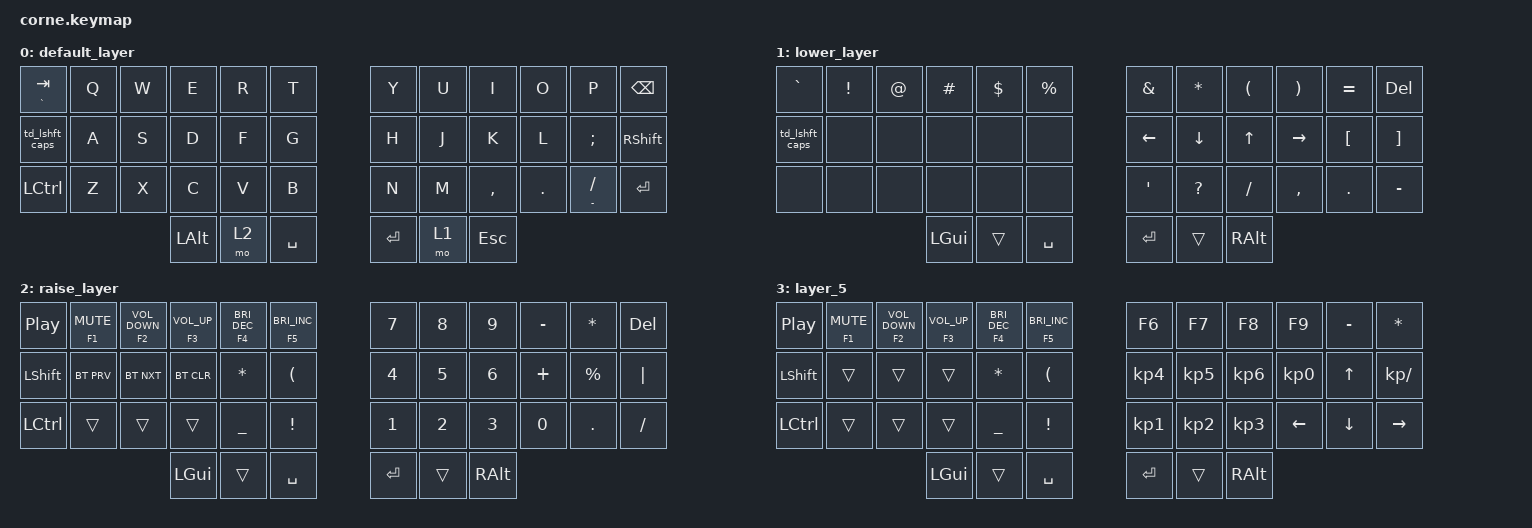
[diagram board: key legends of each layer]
#include <behaviors.dtsi>
#include <dt-bindings/zmk/bt.h>
#include <dt-bindings/zmk/keys.h>

/ {
    combos {
        compatible = "zmk,combos";

        music {
            bindings = <&tog 3>;
            key-positions = <36 37 38>;
        };
    };

    behaviors {
        td_lshft_caps: td_lshft_caps {
            compatible = "zmk,behavior-tap-dance";
            label = "TD_LSHFT_CAPS";
            #binding-cells = <0>;
            tapping-term-ms = <200>;
            bindings = <&kp LSHFT>, <&kp CAPS>;
        };

        td_left_home: td_left_home {
            compatible = "zmk,behavior-tap-dance";
            #binding-cells = <0>;
            tapping-term-ms = <200>;
            bindings = <&kp LEFT>, <&kp HOME>;
        };

        td_right_end: td_right_end {
            compatible = "zmk,behavior-tap-dance";
            #binding-cells = <0>;
            tapping-term-ms = <200>;
            bindings = <&kp RIGHT>, <&kp END>;
        };

        bettermt: bettermt {
            compatible = "zmk,behavior-hold-tap";
            label = "BETTERMT";
            bindings = <&kp>, <&kp>;

            #binding-cells = <2>;
            require-prior-idle-ms = <150>;
            quick-tap-ms = <200>;
            tapping-term-ms = <280>;
            flavor = "tap-preferred";
        };
    };

    keymap {
        compatible = "zmk,keymap";

        default_layer {
            bindings = <
&bettermt GRAVE TAB  &kp Q  &kp W  &kp E     &kp R  &kp T        &kp Y    &kp U  &kp I       &kp O    &kp P                  &kp BSPC
&td_lshft_caps       &kp A  &kp S  &kp D     &kp F  &kp G        &kp H    &kp J  &kp K       &kp L    &kp SEMI               &kp RIGHT_SHIFT
&kp LCTRL            &kp Z  &kp X  &kp C     &kp V  &kp B        &kp N    &kp M  &kp COMMA   &kp DOT  &bettermt MINUS SLASH  &kp ENTER
                                   &kp LALT  &mo 2  &kp SPACE    &kp RET  &mo 1  &kp ESCAPE
            >;
        };

        lower_layer {
            bindings = <
&kp GRAVE       &kp EXCLAMATION  &kp AT  &kp HASH  &kp DOLLAR  &kp PERCENT    &kp AMPERSAND     &kp ASTERISK    &kp LEFT_PARENTHESIS  &kp RIGHT_PARENTHESIS  &kp EQUAL         &kp DELETE
&td_lshft_caps  &none            &none   &none     &none       &none          &kp LEFT          &kp DOWN_ARROW  &kp UP_ARROW          &kp RIGHT              &kp LEFT_BRACKET  &kp RIGHT_BRACKET
&none           &none            &none   &none     &none       &none          &kp SINGLE_QUOTE  &kp QUESTION    &kp SLASH             &kp COMMA              &kp DOT           &kp MINUS
                                         &kp LGUI  &trans      &kp SPACE      &kp RET           &trans          &kp RALT
            >;
        };

        raise_layer {
            bindings = <
&kp C_PLAY_PAUSE  &bettermt F1 C_MUTE  &bettermt F2 C_VOLUME_DOWN  &bettermt F3 C_VOLUME_UP  &bettermt F4 C_BRIGHTNESS_DEC  &bettermt F5 C_BRIGHTNESS_INC    &kp NUMBER_7  &kp N8        &kp N9        &kp MINUS     &kp ASTERISK  &kp DELETE
&kp LSHFT         &bt BT_PRV           &bt BT_NXT                  &bt BT_CLR                &kp ASTERISK                   &kp LEFT_PARENTHESIS             &kp NUMBER_4  &kp N5        &kp NUMBER_6  &kp PLUS      &kp PERCENT   &kp PIPE
&kp LCTRL         &trans               &trans                      &trans                    &kp UNDER                      &kp EXCLAMATION                  &kp NUMBER_1  &kp NUMBER_2  &kp NUMBER_3  &kp NUMBER_0  &kp PERIOD    &kp SLASH
                                                                   &kp LGUI                  &trans                         &kp SPACE                        &kp RET       &trans        &kp RALT
            >;
        };

        layer_5 {
            bindings = <
&kp C_PLAY_PAUSE  &bettermt F1 C_MUTE  &bettermt F2 C_VOLUME_DOWN  &bettermt F3 C_VOLUME_UP  &bettermt F4 C_BRIGHTNESS_DEC  &bettermt F5 C_BRIGHTNESS_INC    &kp F6           &kp F7           &kp F8           &kp F9           &kp MINUS     &kp ASTERISK
&kp LSHFT         &trans               &trans                      &trans                    &kp ASTERISK                   &kp LEFT_PARENTHESIS             &kp KP_NUMBER_4  &kp KP_NUMBER_5  &kp KP_NUMBER_6  &kp KP_NUMBER_0  &kp UP_ARROW  &kp KP_DIVIDE
&kp LCTRL         &trans               &trans                      &trans                    &kp UNDER                      &kp EXCLAMATION                  &kp KP_NUMBER_1  &kp KP_NUMBER_2  &kp KP_NUMBER_3  &kp LEFT         &kp DOWN      &kp RIGHT
                                                                   &kp LGUI                  &trans                         &kp SPACE                        &kp RET          &trans           &kp RALT
            >;
        };
    };

    conditional_layers {
        compatible = "zmk,conditional-layers";

        extra_layer {
            if-layers = <1 2>;
            then-layer = <3>;
        };
    };
};
